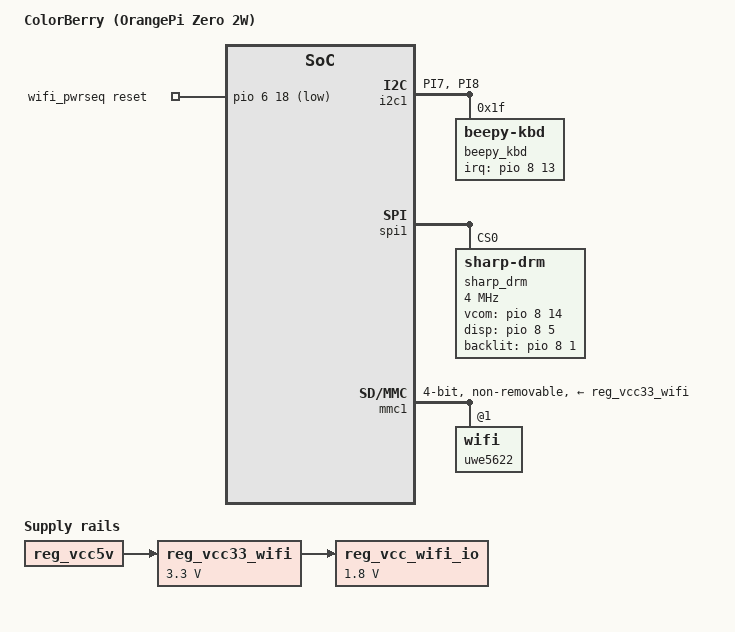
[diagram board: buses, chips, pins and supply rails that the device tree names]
// SPDX-License-Identifier: (GPL-2.0-or-later OR MIT)
//
// ColorBerry: OrangePi Zero 2W plus the JDI colour memory LCD (SPI1),
// the BB Q20 keyboard (I2C1) and the uwe5622 SDIO WiFi/BT module.
//
// Includes sun50i-h618-orangepi-zero2w.dts and sun50i-h616.dtsi from Linux,
// Copyright (C) 2020, 2023 Arm Ltd., dual-licensed (GPL-2.0+ OR MIT).

#include "sun50i-h618-orangepi-zero2w.dts"

/ {
	model = "ColorBerry (OrangePi Zero 2W)";

	reg_vcc33_wifi: vcc33-wifi {
		compatible = "regulator-fixed";
		regulator-name = "vcc33-wifi";
		regulator-min-microvolt = <3300000>;
		regulator-max-microvolt = <3300000>;
		regulator-always-on;
		vin-supply = <&reg_vcc5v>;
	};

	reg_vcc_wifi_io: vcc-wifi-io {
		compatible = "regulator-fixed";
		regulator-name = "vcc-wifi-io";
		regulator-min-microvolt = <1800000>;
		regulator-max-microvolt = <1800000>;
		regulator-always-on;
		vin-supply = <&reg_vcc33_wifi>;
	};

	wifi_pwrseq: wifi-pwrseq {
		compatible = "mmc-pwrseq-simple";
		clocks = <&rtc 1>;
		clock-names = "ext_clock";
		reset-gpios = <&pio 6 18 GPIO_ACTIVE_LOW>;	/* PG18 */
		post-power-on-delay-ms = <200>;
	};
};

&pio {
	i2c1_pi_pins: i2c1-pi-pins {
		pins = "PI7", "PI8";
		function = "i2c1";
	};
};

&i2c1 {
	pinctrl-names = "default";
	pinctrl-0 = <&i2c1_pi_pins>;
	status = "okay";

	beepy_kbd: beepy-kbd@1f {
		compatible = "beepy-kbd";
		reg = <0x1f>;
		interrupt-parent = <&pio>;
		interrupts = <8 13 IRQ_TYPE_EDGE_FALLING>;	/* PI13 */
	};
};

&spi1 {
	pinctrl-names = "default";
	pinctrl-0 = <&spi1_pins>, <&spi1_cs0_pin>;
	status = "okay";

	sharp_drm: sharp-drm@0 {
		compatible = "sharp-drm";
		reg = <0>;
		spi-cs-high;
		spi-max-frequency = <4000000>;
		vcom-gpios = <&pio 8 14 GPIO_ACTIVE_HIGH>;	/* PI14 */
		disp-gpios = <&pio 8 5 GPIO_ACTIVE_HIGH>;	/* PI5 */
		backlit-gpios = <&pio 8 1 GPIO_ACTIVE_HIGH>;	/* PI1 */
	};
};

&mmc1 {
	vmmc-supply = <&reg_vcc33_wifi>;
	vqmmc-supply = <&reg_vcc_wifi_io>;
	mmc-pwrseq = <&wifi_pwrseq>;
	bus-width = <4>;
	non-removable;
	mmc-ddr-1_8v;
	cap-sdio-irq;
	status = "okay";

	uwe5622: wifi@1 {
		reg = <1>;
	};
};
